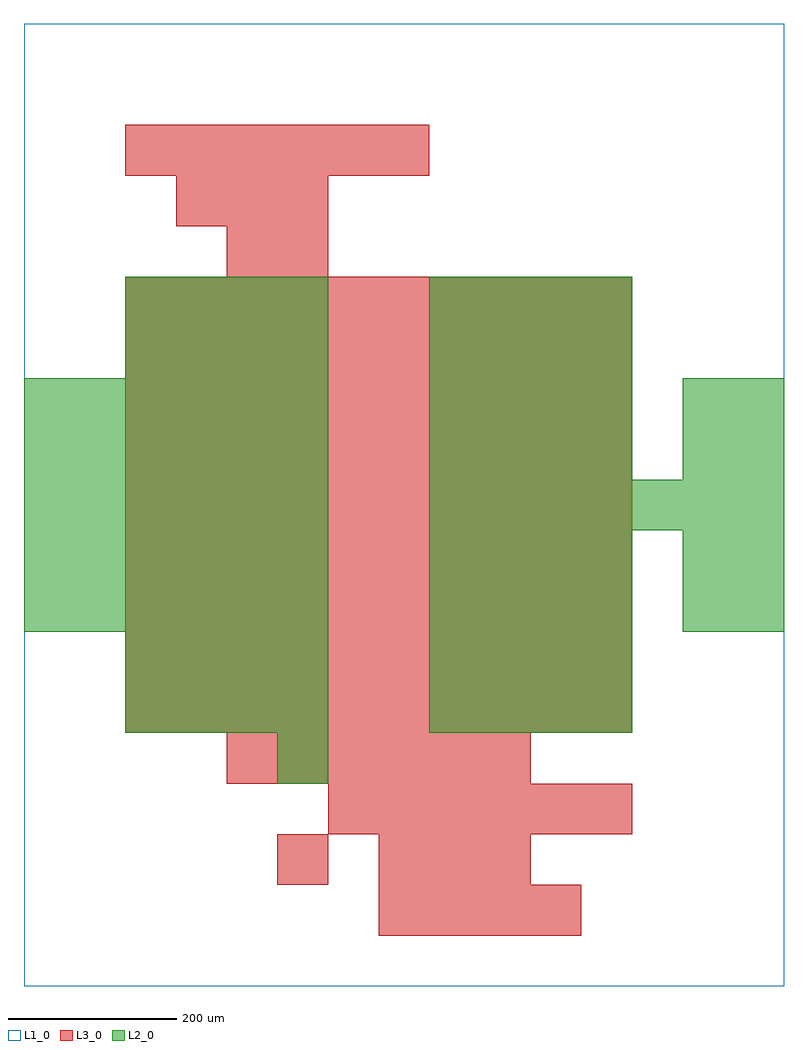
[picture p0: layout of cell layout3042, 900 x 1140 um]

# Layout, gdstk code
import gdstk
lib = gdstk.Library(unit=1e-6, precision=1e-09)
def R(c, l, rs):  # rectangles x0, y0, x1, y1
    for r in rs: c.add(gdstk.rectangle(r[:2], r[2:], *l))
def A(c, l, x, y, w, h, nx, ny, dx, dy):  # array of equal rectangles
    R(c, l, [(x+i*dx, y+j*dy, x+i*dx+w, y+j*dy+h) for i in range(nx) for j in range(ny)])
L1_0 = (1, 0)
L2_0 = (2, 0)
L3_0 = (3, 0)

layout3042 = lib.new_cell('layout3042')
R(layout3042, L1_0, [(0,0,900,1140)])
A(layout3042, L2_0, 120, 300, 60, 60, 4, 2, 60, 60)
A(layout3042, L2_0, 480, 300, 60, 60, 4, 4, 60, 60)
A(layout3042, L2_0, 0, 420, 60, 60, 6, 5, 60, 60)
A(layout3042, L2_0, 480, 540, 60, 60, 7, 1, 60, 0)
A(layout3042, L2_0, 480, 600, 60, 60, 4, 4, 60, 60)
A(layout3042, L2_0, 120, 720, 60, 60, 4, 2, 60, 60)
R(layout3042, L2_0, [(300,240,360,300), (780,420,840,480), (840,420,900,480), (780,480,840,540), (840,480,900,540), (780,600,840,660), (840,600,900,660), (780,660,840,720), (840,660,900,720)])
A(layout3042, L3_0, 420, 60, 60, 60, 4, 1, 60, 0)
A(layout3042, L3_0, 420, 120, 60, 60, 3, 1, 60, 0)
A(layout3042, L3_0, 360, 180, 60, 60, 6, 1, 60, 0)
A(layout3042, L3_0, 240, 240, 60, 60, 6, 1, 60, 0)
A(layout3042, L3_0, 120, 300, 60, 60, 10, 9, 60, 60)
A(layout3042, L3_0, 180, 900, 60, 60, 3, 1, 60, 0)
A(layout3042, L3_0, 120, 960, 60, 60, 6, 1, 60, 0)
R(layout3042, L3_0, [(300,120,360,180), (240,840,300,900), (300,840,360,900)])

lib.write_gds('layout3042.gds')
